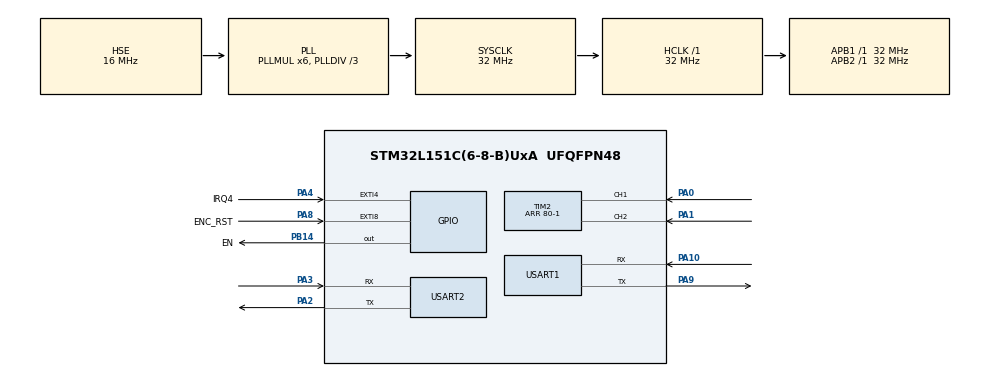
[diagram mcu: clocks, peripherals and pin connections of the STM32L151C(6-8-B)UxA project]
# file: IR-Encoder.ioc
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Dma.Request0=USART1_RX
Dma.Request1=USART1_TX
Dma.Request2=TIM2_UP
Dma.TIM2_UP.2.Direction=DMA_PERIPH_TO_MEMORY
Dma.TIM2_UP.2.Instance=DMA1_Channel2
Dma.TIM2_UP.2.MemDataAlignment=DMA_MDATAALIGN_HALFWORD
Dma.TIM2_UP.2.MemInc=DMA_MINC_DISABLE
Dma.TIM2_UP.2.Mode=DMA_NORMAL
Dma.TIM2_UP.2.PeriphDataAlignment=DMA_PDATAALIGN_HALFWORD
Dma.TIM2_UP.2.PeriphInc=DMA_PINC_DISABLE
Dma.TIM2_UP.2.Priority=DMA_PRIORITY_LOW
Dma.USART1_RX.0.Direction=DMA_PERIPH_TO_MEMORY
Dma.USART1_RX.0.Instance=DMA1_Channel5
Dma.USART1_RX.0.MemDataAlignment=DMA_MDATAALIGN_BYTE
Dma.USART1_RX.0.MemInc=DMA_MINC_ENABLE
Dma.USART1_RX.0.Mode=DMA_NORMAL
Dma.USART1_RX.0.PeriphDataAlignment=DMA_PDATAALIGN_BYTE
Dma.USART1_RX.0.PeriphInc=DMA_PINC_DISABLE
Dma.USART1_RX.0.Priority=DMA_PRIORITY_LOW
Dma.USART1_TX.1.Direction=DMA_MEMORY_TO_PERIPH
Dma.USART1_TX.1.Instance=DMA1_Channel4
Dma.USART1_TX.1.MemDataAlignment=DMA_MDATAALIGN_BYTE
Dma.USART1_TX.1.MemInc=DMA_MINC_ENABLE
Dma.USART1_TX.1.Mode=DMA_NORMAL
Dma.USART1_TX.1.PeriphDataAlignment=DMA_PDATAALIGN_BYTE
Dma.USART1_TX.1.PeriphInc=DMA_PINC_DISABLE
Dma.USART1_TX.1.Priority=DMA_PRIORITY_LOW
Mcu.Family=STM32L1
Mcu.Name=STM32L151C(6-8-B)UxA
Mcu.Package=UFQFPN48
NVIC.DMA1_Channel2_IRQn=true\:0\:0\:false\:false\:true\:false\:true\:true
NVIC.DMA1_Channel4_IRQn=true\:0\:0\:false\:false\:true\:false\:true\:true
NVIC.DMA1_Channel5_IRQn=true\:0\:0\:false\:false\:true\:false\:true\:true
NVIC.EXTI4_IRQn=true\:0\:0\:false\:false\:true\:true\:true\:true
NVIC.EXTI9_5_IRQn=true\:0\:0\:false\:false\:true\:true\:true\:true
NVIC.PriorityGroup=NVIC_PRIORITYGROUP_4
NVIC.RTC_WKUP_IRQn=true\:0\:0\:false\:false\:true\:true\:true\:true
NVIC.TIM2_IRQn=true\:0\:0\:false\:false\:true\:true\:true\:true
NVIC.TIM6_IRQn=true\:0\:0\:false\:false\:true\:true\:true\:true
NVIC.USART1_IRQn=true\:0\:0\:false\:false\:true\:true\:true\:true
PA0-WKUP1.Signal=S_TIM2_CH1_ETR
PA1.Signal=S_TIM2_CH2
PA10.Mode=Asynchronous
PA10.Signal=USART1_RX
PA13.Mode=Trace_Asynchronous_SW
PA13.Signal=SYS_JTMS-SWDIO
PA14.Mode=Trace_Asynchronous_SW
PA14.Signal=SYS_JTCK-SWCLK
PA2.Mode=Asynchronous
PA2.Signal=USART2_TX
PA3.Mode=Asynchronous
PA3.Signal=USART2_RX
PA4.GPIO_Label=IRQ4
PA4.Signal=GPXTI4
PA8.GPIO_Label=ENC_RST
PA8.GPIO_ModeDefaultEXTI=GPIO_MODE_IT_RISING_FALLING
PA8.GPIO_PuPd=GPIO_PULLUP
PA8.Signal=GPXTI8
PA9.Mode=Asynchronous
PA9.Signal=USART1_TX
PB14.GPIO_Label=EN
PB14.PinState=GPIO_PIN_SET
PB14.Signal=GPIO_Output
PB3.Mode=Trace_Asynchronous_SW
PB3.Signal=SYS_JTDO-TRACESWO
PC13-WKUP2.Mode=SYS_WakeUp1
PC13-WKUP2.Signal=SYS_WKUP2
PC14-OSC32_IN.Mode=LSE-External-Oscillator
PC14-OSC32_IN.Signal=RCC_OSC32_IN
PC15-OSC32_OUT.Mode=LSE-External-Oscillator
PC15-OSC32_OUT.Signal=RCC_OSC32_OUT
PH0-OSC_IN.Mode=HSE-External-Oscillator
PH0-OSC_IN.Signal=RCC_OSC_IN
PH1-OSC_OUT.Mode=HSE-External-Oscillator
PH1-OSC_OUT.Signal=RCC_OSC_OUT
ProjectManager.HeapSize=0x200
ProjectManager.StackSize=0x400
ProjectManager.TargetToolchain=STM32CubeIDE
RCC.48MHZClocksFreq_Value=48000000
RCC.AHBFreq_Value=32000000
RCC.APB1Freq_Value=32000000
RCC.APB1TimFreq_Value=32000000
RCC.APB2Freq_Value=32000000
RCC.APB2TimFreq_Value=32000000
RCC.HCLKFreq_Value=32000000
RCC.HSE_VALUE=16000000
RCC.HSI_VALUE=16000000
RCC.MSI_VALUE=2097000
RCC.PLLDIV=RCC_PLL_DIV3
RCC.PLLMUL=RCC_PLL_MUL6
RCC.PLLSourceVirtual=RCC_PLLSOURCE_HSE
RCC.RTCClockSelection=RCC_RTCCLKSOURCE_LSE
RCC.RTCClockSelectionVirtual=RCC_RTCCLKSOURCE_LSE
RCC.SYSCLKFreq_VALUE=32000000
RCC.SYSCLKSource=RCC_SYSCLKSOURCE_PLLCLK
RCC.VCOOutputFreq_Value=96000000
SH.S_TIM2_CH1_ETR.0=TIM2_CH1,Encoder_Interface
SH.S_TIM2_CH2.0=TIM2_CH2,Encoder_Interface
TIM2.AutoReloadPreload=TIM_AUTORELOAD_PRELOAD_DISABLE
TIM2.EncoderMode=TIM_ENCODERMODE_TI12
TIM2.IC2Filter=15
TIM2.Period=80-1
TIM6.AutoReloadPreload=TIM_AUTORELOAD_PRELOAD_ENABLE
TIM6.Period=1000-1
TIM6.Prescaler=32-1
TIM6.TIM_MasterOutputTrigger=TIM_TRGO_UPDATE
USART1.VirtualMode=VM_ASYNC
USART2.VirtualMode=VM_ASYNC
VP_RTC_VS_RTC_Activate.Mode=RTC_Enabled
VP_RTC_VS_RTC_WakeUp_intern.Mode=WakeUp
VP_TIM6_VS_ClockSourceINT.Mode=Enable_Timer
board=custom

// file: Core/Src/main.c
/* USER CODE BEGIN Header */
/**
  ******************************************************************************
  * @file           : main.c
  * @brief          : Main program body
  ******************************************************************************
  * @attention
  *
  * Copyright (c) 2023 STMicroelectronics.
  * All rights reserved.
  *
  * This software is licensed under terms that can be found in the LICENSE file
  * in the root directory of this software component.
  * If no LICENSE file comes with this software, it is provided AS-IS.
  *
  ******************************************************************************
  */
/* USER CODE END Header */
#include "main.h"

/* USER CODE BEGIN Includes */
#include "encoder.h"
/* USER CODE END Includes */

RTC_HandleTypeDef hrtc;

TIM_HandleTypeDef htim2;
TIM_HandleTypeDef htim6;
DMA_HandleTypeDef hdma_tim2_up;

UART_HandleTypeDef huart1;
UART_HandleTypeDef huart2;
DMA_HandleTypeDef hdma_usart1_rx;
DMA_HandleTypeDef hdma_usart1_tx;

/* USER CODE BEGIN PV */
flow_t hEncoder;
uint32_t uwDirection = 0;
uint32_t fwd_cnt = 0, bwd_cnt = 0;
int16_t round_msb = 0;
uint16_t max_lsb = 39;
uint16_t min_msb = 0x0001;
int32_t counter = 0, last_counter = 0;
int32_t position, last_pos;
int16_t speed;
static uint32_t i = 0;
/* USER CODE END PV */

void SystemClock_Config(void);
static void MX_GPIO_Init(void);
static void MX_DMA_Init(void);
static void MX_TIM2_Init(void);
static void MX_USART1_UART_Init(void);
static void MX_USART2_UART_Init(void);
static void MX_RTC_Init(void);
static void MX_TIM6_Init(void);

/* USER CODE BEGIN 0 */
void HAL_TIM_IC_CaptureCallback(TIM_HandleTypeDef *htim)
{
	if (htim->Instance == TIM2) {
		uwDirection = __HAL_TIM_DIRECTION_STATUS(&htim2);

//		counter = (int32_t) __HAL_TIM_GET_COUNTER(htim);

//		t1 = HAL_TIM_ReadCapturedValue(htim, TIM_CHANNEL_1);
//		t2 = HAL_TIM_ReadCapturedValue(htim, TIM_CHANNEL_2);
//		if (!uwDirection) {
//			if (counter == 0 && last_counter == max_lsb ) {
//				++round_msb;
//			}
//		} else {
//			if (counter == max_lsb && last_counter == 0) {
//				--round_msb;
//			}
//		}
//		fwd_cnt = (round_msb << 6 | counter);
//		last_counter = counter;
//		position = counter / max_lsb + 1;
		update_encoder(&hEncoder, &htim2);
		counter = hEncoder.fwd_cnt;
		position = hEncoder.position;
		speed = hEncoder.rate;
	} else {

	}
}
void HAL_TIM_PeriodElapsedCallback(TIM_HandleTypeDef *htim)
{
	if (htim->Instance == TIM6) {
		i++;
		if(i == 100){
			uwDirection = __HAL_TIM_DIRECTION_STATUS(&htim2);
			update_encoder(&hEncoder, &htim2);
			counter = hEncoder.fwd_cnt;
			position = hEncoder.position;
			speed = hEncoder.rate;
			i = 0;
		}
	} else {

	}
}

void HAL_GPIO_EXTI_Callback(uint16_t GPIO_Pin)
{
  switch (GPIO_Pin) {
	case GPIO_PIN_8:
		if (HAL_GPIO_ReadPin(ENC_RST_GPIO_Port, ENC_RST_Pin) != GPIO_PIN_SET) {
			HAL_TIM_Encoder_Start(&htim2, TIM_CHANNEL_ALL);
		} else {
			HAL_TIM_Encoder_Stop(&htim2, TIM_CHANNEL_ALL);
			reset_encoder(&hEncoder);
			counter = hEncoder.fwd_cnt;
			position = hEncoder.position;
			speed = hEncoder.rate;
		}
		break;
	default:
		break;
}
}
int _write(int file, char *ptr, int len)
{
  (void)file;
  int DataIdx;

  for (DataIdx = 0; DataIdx < len; DataIdx++)
  {
    ITM_SendChar(*ptr++);
  }
  return len;
}

/* USER CODE END 0 */

int main(void)
{

  /* MCU Configuration--------------------------------------------------------*/

  /* Reset of all peripherals, Initializes the Flash interface and the Systick. */
  HAL_Init();

  /* Configure the system clock */
  SystemClock_Config();

  /* Initialize all configured peripherals */
  MX_GPIO_Init();
  MX_DMA_Init();
  MX_TIM2_Init();
  MX_USART1_UART_Init();
  MX_USART2_UART_Init();
  MX_RTC_Init();
  MX_TIM6_Init();
  /* USER CODE BEGIN 2 */

  HAL_TIM_Encoder_Start(&htim2, TIM_CHANNEL_ALL);
  HAL_TIM_Base_Start_IT(&htim6);

//  HAL_TIM_Encoder_Start_IT(&htim2, TIM_CHANNEL_ALL);
//  HAL_TIM_Encoder_Start_DMA(&htim2, TIM_CHANNEL_1, &t1, &t2, 1);
//  HAL_TIM_Base_Start_DMA(&htim2, &t1, 1);
  /* USER CODE END 2 */

  /* Infinite loop */
  /* USER CODE BEGIN WHILE */
  while (1)
  {
//	  uwDirection = __HAL_TIM_DIRECTION_STATUS(&htim2);

    /* USER CODE END WHILE */

  }
}

void SystemClock_Config(void)
{
  RCC_OscInitTypeDef RCC_OscInitStruct = {0};
  RCC_ClkInitTypeDef RCC_ClkInitStruct = {0};
  RCC_PeriphCLKInitTypeDef PeriphClkInit = {0};

  /** Configure the main internal regulator output voltage
  */
  __HAL_PWR_VOLTAGESCALING_CONFIG(PWR_REGULATOR_VOLTAGE_SCALE1);

  /** Initializes the RCC Oscillators according to the specified parameters
  * in the RCC_OscInitTypeDef structure.
  */
  RCC_OscInitStruct.OscillatorType = RCC_OSCILLATORTYPE_HSE|RCC_OSCILLATORTYPE_LSE;
  RCC_OscInitStruct.HSEState = RCC_HSE_ON;
  RCC_OscInitStruct.LSEState = RCC_LSE_ON;
  RCC_OscInitStruct.PLL.PLLState = RCC_PLL_ON;
  RCC_OscInitStruct.PLL.PLLSource = RCC_PLLSOURCE_HSE;
  RCC_OscInitStruct.PLL.PLLMUL = RCC_PLL_MUL6;
  RCC_OscInitStruct.PLL.PLLDIV = RCC_PLL_DIV3;
  if (HAL_RCC_OscConfig(&RCC_OscInitStruct) != HAL_OK)
  {
    Error_Handler();
  }

  /** Initializes the CPU, AHB and APB buses clocks
  */
  RCC_ClkInitStruct.ClockType = RCC_CLOCKTYPE_HCLK|RCC_CLOCKTYPE_SYSCLK
                              |RCC_CLOCKTYPE_PCLK1|RCC_CLOCKTYPE_PCLK2;
  RCC_ClkInitStruct.SYSCLKSource = RCC_SYSCLKSOURCE_PLLCLK;
  RCC_ClkInitStruct.AHBCLKDivider = RCC_SYSCLK_DIV1;
  RCC_ClkInitStruct.APB1CLKDivider = RCC_HCLK_DIV1;
  RCC_ClkInitStruct.APB2CLKDivider = RCC_HCLK_DIV1;

  if (HAL_RCC_ClockConfig(&RCC_ClkInitStruct, FLASH_LATENCY_1) != HAL_OK)
  {
    Error_Handler();
  }
  PeriphClkInit.PeriphClockSelection = RCC_PERIPHCLK_RTC;
  PeriphClkInit.RTCClockSelection = RCC_RTCCLKSOURCE_LSE;
  if (HAL_RCCEx_PeriphCLKConfig(&PeriphClkInit) != HAL_OK)
  {
    Error_Handler();
  }
}

static void MX_RTC_Init(void)
{

  RTC_TimeTypeDef sTime = {0};
  RTC_DateTypeDef sDate = {0};

  /** Initialize RTC Only
  */
  hrtc.Instance = RTC;
  hrtc.Init.HourFormat = RTC_HOURFORMAT_24;
  hrtc.Init.AsynchPrediv = 127;
  hrtc.Init.SynchPrediv = 255;
  hrtc.Init.OutPut = RTC_OUTPUT_DISABLE;
  hrtc.Init.OutPutPolarity = RTC_OUTPUT_POLARITY_HIGH;
  hrtc.Init.OutPutType = RTC_OUTPUT_TYPE_OPENDRAIN;
  if (HAL_RTC_Init(&hrtc) != HAL_OK)
  {
    Error_Handler();
  }

  /** Initialize RTC and set the Time and Date
  */
  sTime.Hours = 0x0;
  sTime.Minutes = 0x0;
  sTime.Seconds = 0x0;
  sTime.DayLightSaving = RTC_DAYLIGHTSAVING_NONE;
  sTime.StoreOperation = RTC_STOREOPERATION_RESET;
  if (HAL_RTC_SetTime(&hrtc, &sTime, RTC_FORMAT_BCD) != HAL_OK)
  {
    Error_Handler();
  }
  sDate.WeekDay = RTC_WEEKDAY_MONDAY;
  sDate.Month = RTC_MONTH_JANUARY;
  sDate.Date = 0x1;
  sDate.Year = 0x0;

  if (HAL_RTC_SetDate(&hrtc, &sDate, RTC_FORMAT_BCD) != HAL_OK)
  {
    Error_Handler();
  }

  /** Enable the WakeUp
  */
  if (HAL_RTCEx_SetWakeUpTimer_IT(&hrtc, 0, RTC_WAKEUPCLOCK_RTCCLK_DIV16) != HAL_OK)
  {
    Error_Handler();
  }

}

static void MX_TIM2_Init(void)
{

  TIM_Encoder_InitTypeDef sConfig = {0};
  TIM_MasterConfigTypeDef sMasterConfig = {0};

  htim2.Instance = TIM2;
  htim2.Init.Prescaler = 0;
  htim2.Init.CounterMode = TIM_COUNTERMODE_UP;
  htim2.Init.Period = 80-1;
  htim2.Init.ClockDivision = TIM_CLOCKDIVISION_DIV1;
  htim2.Init.AutoReloadPreload = TIM_AUTORELOAD_PRELOAD_DISABLE;
  sConfig.EncoderMode = TIM_ENCODERMODE_TI12;
  sConfig.IC1Polarity = TIM_ICPOLARITY_RISING;
  sConfig.IC1Selection = TIM_ICSELECTION_DIRECTTI;
  sConfig.IC1Prescaler = TIM_ICPSC_DIV1;
  sConfig.IC1Filter = 0;
  sConfig.IC2Polarity = TIM_ICPOLARITY_RISING;
  sConfig.IC2Selection = TIM_ICSELECTION_DIRECTTI;
  sConfig.IC2Prescaler = TIM_ICPSC_DIV1;
  sConfig.IC2Filter = 15;
  if (HAL_TIM_Encoder_Init(&htim2, &sConfig) != HAL_OK)
  {
    Error_Handler();
  }
  sMasterConfig.MasterOutputTrigger = TIM_TRGO_RESET;
  sMasterConfig.MasterSlaveMode = TIM_MASTERSLAVEMODE_DISABLE;
  if (HAL_TIMEx_MasterConfigSynchronization(&htim2, &sMasterConfig) != HAL_OK)
  {
    Error_Handler();
  }

}

static void MX_TIM6_Init(void)
{

  TIM_MasterConfigTypeDef sMasterConfig = {0};

  htim6.Instance = TIM6;
  htim6.Init.Prescaler = 32-1;
  htim6.Init.CounterMode = TIM_COUNTERMODE_UP;
  htim6.Init.Period = 1000-1;
  htim6.Init.AutoReloadPreload = TIM_AUTORELOAD_PRELOAD_ENABLE;
  if (HAL_TIM_Base_Init(&htim6) != HAL_OK)
  {
    Error_Handler();
  }
  sMasterConfig.MasterOutputTrigger = TIM_TRGO_UPDATE;
  sMasterConfig.MasterSlaveMode = TIM_MASTERSLAVEMODE_DISABLE;
  if (HAL_TIMEx_MasterConfigSynchronization(&htim6, &sMasterConfig) != HAL_OK)
  {
    Error_Handler();
  }

}

static void MX_USART1_UART_Init(void)
{

  huart1.Instance = USART1;
  huart1.Init.BaudRate = 115200;
  huart1.Init.WordLength = UART_WORDLENGTH_8B;
  huart1.Init.StopBits = UART_STOPBITS_1;
  huart1.Init.Parity = UART_PARITY_NONE;
  huart1.Init.Mode = UART_MODE_TX_RX;
  huart1.Init.HwFlowCtl = UART_HWCONTROL_NONE;
  huart1.Init.OverSampling = UART_OVERSAMPLING_16;
  if (HAL_UART_Init(&huart1) != HAL_OK)
  {
    Error_Handler();
  }

}

static void MX_USART2_UART_Init(void)
{

  huart2.Instance = USART2;
  huart2.Init.BaudRate = 115200;
  huart2.Init.WordLength = UART_WORDLENGTH_8B;
  huart2.Init.StopBits = UART_STOPBITS_1;
  huart2.Init.Parity = UART_PARITY_NONE;
  huart2.Init.Mode = UART_MODE_TX_RX;
  huart2.Init.HwFlowCtl = UART_HWCONTROL_NONE;
  huart2.Init.OverSampling = UART_OVERSAMPLING_16;
  if (HAL_UART_Init(&huart2) != HAL_OK)
  {
    Error_Handler();
  }

}

static void MX_DMA_Init(void)
{

  /* DMA controller clock enable */
  __HAL_RCC_DMA1_CLK_ENABLE();

  /* DMA interrupt init */
  /* DMA1_Channel2_IRQn interrupt configuration */
  HAL_NVIC_SetPriority(DMA1_Channel2_IRQn, 0, 0);
  HAL_NVIC_EnableIRQ(DMA1_Channel2_IRQn);
  /* DMA1_Channel4_IRQn interrupt configuration */
  HAL_NVIC_SetPriority(DMA1_Channel4_IRQn, 0, 0);
  HAL_NVIC_EnableIRQ(DMA1_Channel4_IRQn);
  /* DMA1_Channel5_IRQn interrupt configuration */
  HAL_NVIC_SetPriority(DMA1_Channel5_IRQn, 0, 0);
  HAL_NVIC_EnableIRQ(DMA1_Channel5_IRQn);

}

static void MX_GPIO_Init(void)
{
  GPIO_InitTypeDef GPIO_InitStruct = {0};

  /* GPIO Ports Clock Enable */
  __HAL_RCC_GPIOC_CLK_ENABLE();
  __HAL_RCC_GPIOH_CLK_ENABLE();
  __HAL_RCC_GPIOA_CLK_ENABLE();
  __HAL_RCC_GPIOB_CLK_ENABLE();

  /*Configure GPIO pin Output Level */
  HAL_GPIO_WritePin(EN_GPIO_Port, EN_Pin, GPIO_PIN_SET);

  /*Configure GPIO pin : IRQ4_Pin */
  GPIO_InitStruct.Pin = IRQ4_Pin;
  GPIO_InitStruct.Mode = GPIO_MODE_IT_RISING;
  GPIO_InitStruct.Pull = GPIO_NOPULL;
  HAL_GPIO_Init(IRQ4_GPIO_Port, &GPIO_InitStruct);

  /*Configure GPIO pin : EN_Pin */
  GPIO_InitStruct.Pin = EN_Pin;
  GPIO_InitStruct.Mode = GPIO_MODE_OUTPUT_PP;
  GPIO_InitStruct.Pull = GPIO_NOPULL;
  GPIO_InitStruct.Speed = GPIO_SPEED_FREQ_LOW;
  HAL_GPIO_Init(EN_GPIO_Port, &GPIO_InitStruct);

  /*Configure GPIO pin : ENC_RST_Pin */
  GPIO_InitStruct.Pin = ENC_RST_Pin;
  GPIO_InitStruct.Mode = GPIO_MODE_IT_RISING_FALLING;
  GPIO_InitStruct.Pull = GPIO_PULLUP;
  HAL_GPIO_Init(ENC_RST_GPIO_Port, &GPIO_InitStruct);

  /* EXTI interrupt init*/
  HAL_NVIC_SetPriority(EXTI4_IRQn, 0, 0);
  HAL_NVIC_EnableIRQ(EXTI4_IRQn);

  HAL_NVIC_SetPriority(EXTI9_5_IRQn, 0, 0);
  HAL_NVIC_EnableIRQ(EXTI9_5_IRQn);

}

void Error_Handler(void)
{
  __disable_irq();
  while (1)
  {
  }
}
